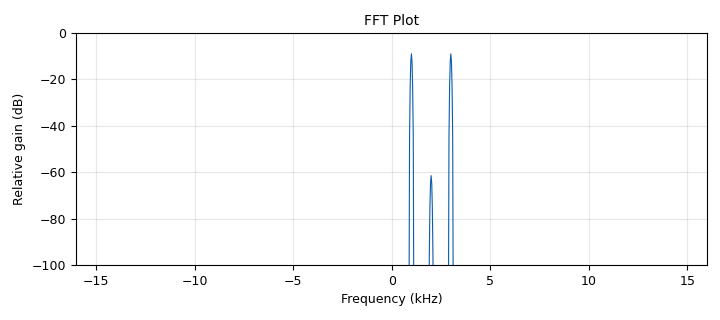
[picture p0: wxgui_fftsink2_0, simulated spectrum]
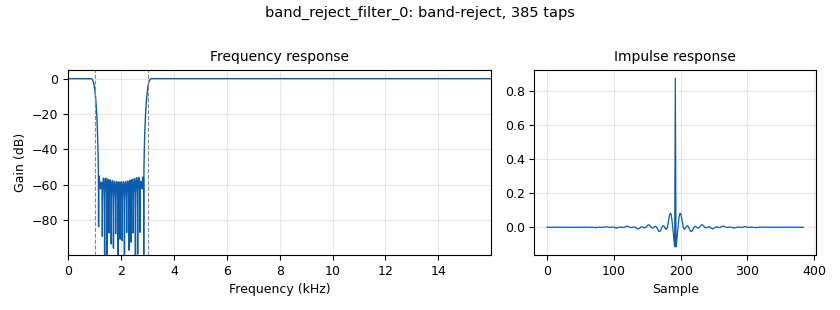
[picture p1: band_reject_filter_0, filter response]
<?xml version='1.0' encoding='utf-8'?>
<?grc format='1' created='3.7.6'?>
<flow_graph>
<block>
<key>options</key>
<param><key>id</key><value>top_block</value></param>
<param><key>generate_options</key><value>wx_gui</value></param>
<param><key>category</key><value>Custom</value></param>
</block>
<block>
<key>variable</key>
<param><key>id</key><value>samp_rate</value></param>
<param><key>value</key><value>32000</value></param>
</block>
<block>
<key>blocks_throttle</key>
<param><key>id</key><value>blocks_throttle_0</value></param>
<param><key>type</key><value>complex</value></param>
<param><key>samples_per_second</key><value>samp_rate</value></param>
</block>
<block>
<key>analog_sig_source_x</key>
<param><key>id</key><value>analog_sig_source_x_0</value></param>
<param><key>type</key><value>complex</value></param>
<param><key>samp_rate</key><value>samp_rate</value></param>
<param><key>waveform</key><value>analog.GR_COS_WAVE</value></param>
<param><key>freq</key><value>1000</value></param>
<param><key>amp</key><value>1</value></param>
<param><key>offset</key><value>0</value></param>
</block>
<block>
<key>analog_sig_source_x</key>
<param><key>id</key><value>analog_sig_source_x_0_1</value></param>
<param><key>type</key><value>complex</value></param>
<param><key>samp_rate</key><value>samp_rate</value></param>
<param><key>waveform</key><value>analog.GR_COS_WAVE</value></param>
<param><key>freq</key><value>2000</value></param>
<param><key>amp</key><value>1</value></param>
<param><key>offset</key><value>0</value></param>
</block>
<block>
<key>analog_sig_source_x</key>
<param><key>id</key><value>analog_sig_source_x_0_0</value></param>
<param><key>type</key><value>complex</value></param>
<param><key>samp_rate</key><value>samp_rate</value></param>
<param><key>waveform</key><value>analog.GR_COS_WAVE</value></param>
<param><key>freq</key><value>3000</value></param>
<param><key>amp</key><value>1</value></param>
<param><key>offset</key><value>0</value></param>
</block>
<block>
<key>variable_slider</key>
<param><key>id</key><value>Low</value></param>
<param><key>label</key><value></value></param>
<param><key>value</key><value>1000</value></param>
<param><key>min</key><value>0</value></param>
<param><key>max</key><value>4000</value></param>
<param><key>num_steps</key><value>100</value></param>
<param><key>style</key><value>wx.SL_HORIZONTAL</value></param>
<param><key>converver</key><value>float_converter</value></param>
</block>
<block>
<key>variable_slider</key>
<param><key>id</key><value>High</value></param>
<param><key>label</key><value></value></param>
<param><key>value</key><value>3000</value></param>
<param><key>min</key><value>0</value></param>
<param><key>max</key><value>4000</value></param>
<param><key>num_steps</key><value>100</value></param>
<param><key>style</key><value>wx.SL_HORIZONTAL</value></param>
<param><key>converver</key><value>float_converter</value></param>
</block>
<block>
<key>band_pass_filter</key>
<param><key>id</key><value>band_pass_filter_0</value></param>
<param><key>_enabled</key><value>False</value></param>
<param><key>type</key><value>fir_filter_ccf</value></param>
<param><key>decim</key><value>1</value></param>
<param><key>gain</key><value>1</value></param>
<param><key>samp_rate</key><value>samp_rate</value></param>
<param><key>low_cutoff_freq</key><value>Low</value></param>
<param><key>high_cutoff_freq</key><value>High</value></param>
<param><key>width</key><value>100</value></param>
<param><key>win</key><value>firdes.WIN_HAMMING</value></param>
</block>
<block>
<key>low_pass_filter</key>
<param><key>id</key><value>low_pass_filter_0</value></param>
<param><key>_enabled</key><value>False</value></param>
<param><key>type</key><value>fir_filter_ccf</value></param>
<param><key>decim</key><value>1</value></param>
<param><key>gain</key><value>1</value></param>
<param><key>samp_rate</key><value>samp_rate</value></param>
<param><key>cutoff_freq</key><value>Low</value></param>
<param><key>width</key><value>200</value></param>
<param><key>win</key><value>firdes.WIN_RECTANGULAR</value></param>
</block>
<block>
<key>blocks_add_xx</key>
<param><key>id</key><value>blocks_add_xx_0</value></param>
<param><key>type</key><value>complex</value></param>
<param><key>num_inputs</key><value>3</value></param>
</block>
<block>
<key>high_pass_filter</key>
<param><key>id</key><value>high_pass_filter_0</value></param>
<param><key>_enabled</key><value>False</value></param>
<param><key>type</key><value>fir_filter_ccf</value></param>
<param><key>decim</key><value>1</value></param>
<param><key>gain</key><value>1</value></param>
<param><key>samp_rate</key><value>samp_rate</value></param>
<param><key>cutoff_freq</key><value>High</value></param>
<param><key>width</key><value>200</value></param>
<param><key>win</key><value>firdes.WIN_HAMMING</value></param>
</block>
<block>
<key>wxgui_fftsink2</key>
<param><key>id</key><value>wxgui_fftsink2_0</value></param>
<param><key>type</key><value>complex</value></param>
<param><key>title</key><value>FFT Plot</value></param>
<param><key>samp_rate</key><value>samp_rate</value></param>
<param><key>baseband_freq</key><value>0</value></param>
<param><key>y_per_div</key><value>10</value></param>
<param><key>y_divs</key><value>10</value></param>
<param><key>ref_level</key><value>0</value></param>
<param><key>ref_scale</key><value>2.0</value></param>
<param><key>fft_size</key><value>1024</value></param>
<param><key>fft_rate</key><value>15</value></param>
<param><key>peak_hold</key><value>False</value></param>
<param><key>average</key><value>False</value></param>
<param><key>avg_alpha</key><value>0</value></param>
<param><key>win</key><value>None</value></param>
<param><key>freqvar</key><value>None</value></param>
</block>
<block>
<key>band_reject_filter</key>
<param><key>id</key><value>band_reject_filter_0</value></param>
<param><key>type</key><value>fir_filter_ccf</value></param>
<param><key>decim</key><value>1</value></param>
<param><key>gain</key><value>1</value></param>
<param><key>samp_rate</key><value>samp_rate</value></param>
<param><key>low_cutoff_freq</key><value>Low</value></param>
<param><key>high_cutoff_freq</key><value>High</value></param>
<param><key>width</key><value>200</value></param>
<param><key>win</key><value>firdes.WIN_HAMMING</value></param>
</block>
<connection><source_block_id>analog_sig_source_x_0_1</source_block_id><sink_block_id>blocks_add_xx_0</sink_block_id><source_key>0</source_key><sink_key>1</sink_key></connection>
<connection><source_block_id>analog_sig_source_x_0_0</source_block_id><sink_block_id>blocks_add_xx_0</sink_block_id><source_key>0</source_key><sink_key>2</sink_key></connection>
<connection><source_block_id>analog_sig_source_x_0</source_block_id><sink_block_id>blocks_throttle_0</sink_block_id><source_key>0</source_key><sink_key>0</sink_key></connection>
<connection><source_block_id>blocks_throttle_0</source_block_id><sink_block_id>blocks_add_xx_0</sink_block_id><source_key>0</source_key><sink_key>0</sink_key></connection>
<connection><source_block_id>blocks_add_xx_0</source_block_id><sink_block_id>low_pass_filter_0</sink_block_id><source_key>0</source_key><sink_key>0</sink_key></connection>
<connection><source_block_id>low_pass_filter_0</source_block_id><sink_block_id>wxgui_fftsink2_0</sink_block_id><source_key>0</source_key><sink_key>0</sink_key></connection>
<connection><source_block_id>blocks_add_xx_0</source_block_id><sink_block_id>band_pass_filter_0</sink_block_id><source_key>0</source_key><sink_key>0</sink_key></connection>
<connection><source_block_id>band_pass_filter_0</source_block_id><sink_block_id>wxgui_fftsink2_0</sink_block_id><source_key>0</source_key><sink_key>0</sink_key></connection>
<connection><source_block_id>blocks_add_xx_0</source_block_id><sink_block_id>high_pass_filter_0</sink_block_id><source_key>0</source_key><sink_key>0</sink_key></connection>
<connection><source_block_id>high_pass_filter_0</source_block_id><sink_block_id>wxgui_fftsink2_0</sink_block_id><source_key>0</source_key><sink_key>0</sink_key></connection>
<connection><source_block_id>blocks_add_xx_0</source_block_id><sink_block_id>band_reject_filter_0</sink_block_id><source_key>0</source_key><sink_key>0</sink_key></connection>
<connection><source_block_id>band_reject_filter_0</source_block_id><sink_block_id>wxgui_fftsink2_0</sink_block_id><source_key>0</source_key><sink_key>0</sink_key></connection>
</flow_graph>
